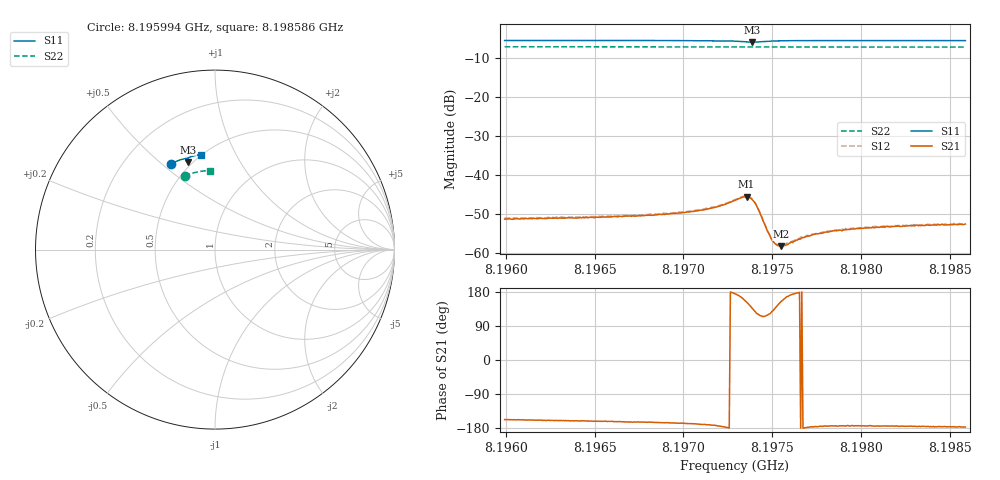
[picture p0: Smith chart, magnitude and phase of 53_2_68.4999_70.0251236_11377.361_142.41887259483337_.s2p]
#  HZ  S  RI  R  50.00
! Rohde & Schwarz Vector Network Analyzer
! Rohde-Schwarz,ZNB20-2Port,1311601062101988,3.16
! Created: UTC 3/20/2024, 4:50:55 PM
! freq[Hz]  re:S11  im:S11  re:S21  im:S21  re:S12  im:S12  re:S22  im:S22
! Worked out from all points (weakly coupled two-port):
!   401 points, 8.195994 GHz to 8.198586 GHz, reference 50 ohm
!   highest |S21| = -45.48 dB at 8.197355 GHz (marker M1); lowest = -58.2 dB at 8.197549 GHz (marker M2)
!   lowest |S11| = -5.8 dB at 8.197387 GHz (marker M3), VSWR 3.09, Z = 23.7 + j31.3 ohm
!   |S11| at or under -10 dB: nowhere
!   |S22| runs from -7.1 to -7.0 dB; largest |S21 - S12| = 0.00028
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8.195994e9  -0.2471 0.477  -0.00252 -0.00106  -0.00265 -0.000974  -0.1692 0.4124
8.1964281e9  -0.2186 0.4901  -0.00268 -0.000942  -0.00274 -0.000852  -0.1462 0.4203
8.1968623e9  -0.1887 0.5017  -0.00303 -0.000814  -0.00312 -0.000695  -0.1228 0.4271
8.197115e9  -0.1686 0.5071  -0.00353 -0.000638  -0.00366 -0.000508  -0.1089 0.4305
8.1972122e9  -0.1589 0.5079  -0.00408 -0.000342  -0.00417 -0.000195  -0.1036 0.4314
8.1972899e9  -0.1494 0.5048  -0.00474 0.000447  -0.00484 0.000657  -0.0991 0.4321
8.1973288e9  -0.1451 0.4997  -0.00499 0.0014  -0.005 0.00165  -0.097 0.4325
8.1973547e9  -0.1447 0.4941  -0.00475 0.0024  -0.0047 0.00266  -0.0957 0.4326
8.1973742e9  -0.147 0.49  -0.00411 0.00308  -0.00407 0.00332  -0.0945 0.4327
8.1973871e9  -0.1499 0.4883  -0.00349 0.00338  -0.00337 0.00362  -0.094 0.4328
8.197413e9  -0.1566 0.489  -0.00212 0.00334  -0.00204 0.00347  -0.0927 0.4331
8.1974713e9  -0.1608 0.4999  -0.000913 0.0017  -0.000834 0.00179  -0.0898 0.4339
8.1974973e9  -0.1593 0.5037  -0.000913 0.00117  -0.000888 0.00126  -0.0883 0.4344
8.1975167e9  -0.1575 0.506  -0.000969 0.000888  -0.00095 0.000941  -0.0872 0.4345
8.1975491e9  -0.1546 0.5089  -0.00111 0.00053  -0.00116 0.000611  -0.0852 0.4349
8.1975815e9  -0.1515 0.511  -0.00125 0.00028  -0.00129 0.000389  -0.0835 0.4352
8.1976657e9  -0.1441 0.5147  -0.00157 4.52e-06  -0.00161 6.96e-05  -0.0788 0.436
8.197724e9  -0.1392 0.5165  -0.00171 -9.88e-05  -0.00176 -5.46e-05  -0.0755 0.4364
8.1978407e9  -0.13 0.5192  -0.00193 -0.000213  -0.00197 -0.000124  -0.069 0.4374
8.1979249e9  -0.1237 0.5208  -0.002 -0.000256  -0.00208 -0.000125  -0.0642 0.438
8.1981582e9  -0.1066 0.5245  -0.00217 -0.000201  -0.00221 -0.000119  -0.0512 0.4393
8.1985858e9  -0.0759 0.5295  -0.00236 -0.000127  -0.00238 -2.99e-05  -0.0272 0.4406
